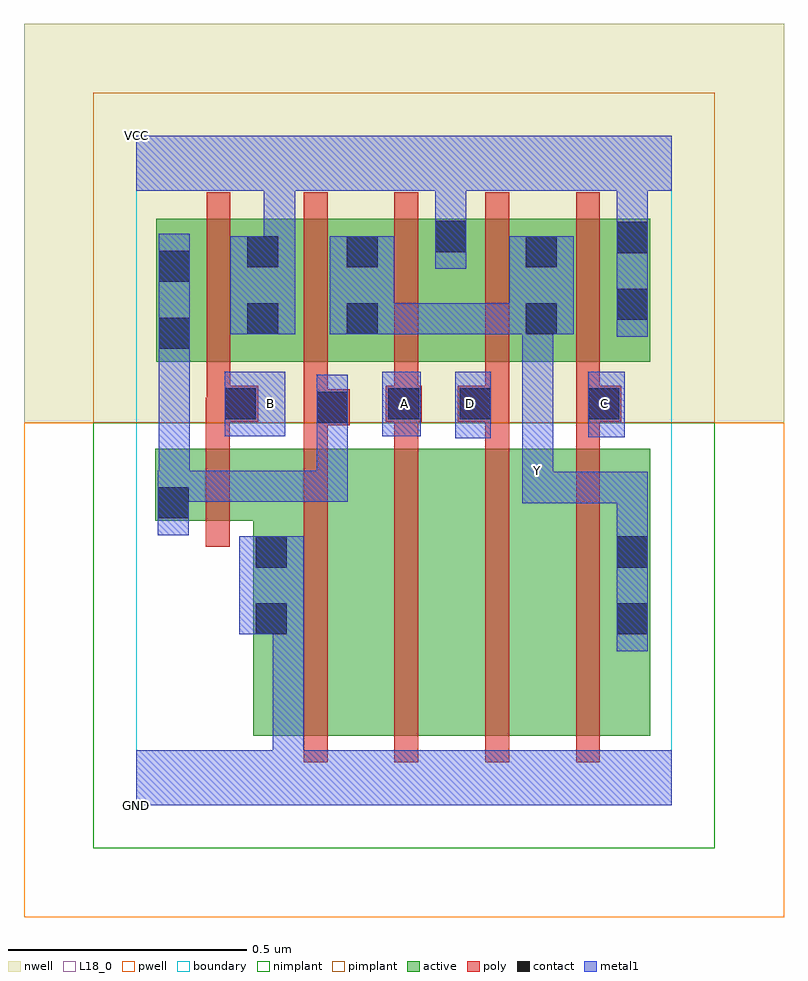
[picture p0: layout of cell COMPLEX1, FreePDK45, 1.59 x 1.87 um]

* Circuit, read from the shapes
.subckt COMPLEX1 A B C D GND VCC Y
M1 GND B n1 VSUBS nfet w=0.15u l=0.05u
M2 n2 n1 GND VSUBS nfet w=0.6u l=0.05u
M3 n3 A n2 VSUBS nfet w=0.6u l=0.05u
M4 n4 D n3 VSUBS nfet w=0.6u l=0.05u
M5 Y C n4 VSUBS nfet w=0.6u l=0.05u
M6 VCC B n1 n5 pfet w=0.3u l=0.05u
M7 Y n1 VCC n5 pfet w=0.3u l=0.05u
M8 VCC A Y n5 pfet w=0.3u l=0.05u
M9 Y D VCC n5 pfet w=0.3u l=0.05u
M10 VCC C Y n5 pfet w=0.3u l=0.05u
.ends

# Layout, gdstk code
import gdstk
lib = gdstk.Library(unit=1e-6, precision=1e-09)
def R(c, l, rs):  # rectangles x0, y0, x1, y1
    for r in rs: c.add(gdstk.rectangle(r[:2], r[2:], *l))
def A(c, l, x, y, w, h, nx, ny, dx, dy):  # array of equal rectangles
    R(c, l, [(x+i*dx, y+j*dy, x+i*dx+w, y+j*dy+h) for i in range(nx) for j in range(ny)])
active = (1, 0)
pwell = (2, 0)
nwell = (3, 0)
nimplant = (4, 0)
pimplant = (5, 0)
poly = (9, 0)
contact = (10, 0)
metal1 = (11, 0)
L18_0 = (18, 0)
boundary = (235, 0)

complex1 = lib.new_cell('COMPLEX1')
R(complex1, active, [(0.245,0.145,0.47,0.745), (0.245,0.145,0.32,0.595), (0.47,0.145,0.66,0.745), (0.66,0.145,0.85,0.745), (0.85,0.145,1.075,0.745), (1,0.145,1.075,0.745), (0.04,0.595,0.32,0.745), (0.04,0.595,0.115,0.745), (0.042,0.927,0.302,1.227), (0.042,0.927,0.117,1.167), (0.227,0.927,0.302,1.227), (0.227,0.927,0.51,1.227), (0.435,0.927,0.51,1.2), (0.435,0.927,0.695,1.227), (0.62,0.927,0.885,1.227), (0.81,0.927,1.075,1.227), (0.81,0.927,0.885,1.2), (1,0.927,1.075,1.227), (0.62,1.007,0.695,1.227)])
R(complex1, pwell, [(-0.235,-0.235,1.355,0.8)])
R(complex1, nwell, [(-0.235,0.8,1.355,1.635)])
R(complex1, nimplant, [(-0.09,-0.09,1.21,0.8)])
R(complex1, pimplant, [(-0.09,0.8,1.21,1.49)])
A(complex1, poly, 0.35, 0.09, 0.05, 0.71, 4, 1, 0.19, 0)
A(complex1, poly, 0.54, 0.75, 0.05, 0.102, 3, 1, 0.19, 0)
A(complex1, poly, 0.54, 0.827, 0.05, 0.095, 3, 1, 0.19, 0)
A(complex1, poly, 0.35, 0.872, 0.05, 0.41, 4, 1, 0.19, 0)
R(complex1, poly, [(0.145,0.54,0.195,0.8), (0.145,0.75,0.195,0.852), (0.35,0.75,0.4,0.845), (0.35,0.795,0.447,0.87), (0.145,0.802,0.197,0.852), (0.147,0.802,0.197,0.852), (0.147,0.802,0.255,0.877), (0.522,0.802,0.597,0.877), (0.54,0.802,0.59,0.852), (0.54,0.802,0.59,0.852), (0.672,0.802,0.78,0.877), (0.92,0.802,0.97,0.852), (0.92,0.802,0.97,0.852), (0.92,0.802,1.015,0.877), (0.35,0.82,0.4,0.87), (0.35,0.82,0.4,0.87), (0.35,0.82,0.4,0.922), (0.147,0.827,0.197,0.922), (0.73,0.827,0.78,0.877), (0.73,0.827,0.78,0.877), (0.147,0.872,0.197,1.282)])
R(complex1, contact, [(0.25,0.357,0.315,0.422), (1.005,0.357,1.07,0.422), (0.25,0.497,0.315,0.562), (1.005,0.497,1.07,0.562), (0.045,0.6,0.11,0.665), (0.377,0.8,0.442,0.865), (0.185,0.807,0.25,0.872), (0.527,0.807,0.592,0.872), (0.677,0.807,0.742,0.872), (0.945,0.807,1.01,0.872), (0.047,0.955,0.112,1.02), (0.232,0.985,0.297,1.05), (0.44,0.985,0.505,1.05), (0.815,0.985,0.88,1.05), (1.005,1.015,1.07,1.08), (0.047,1.095,0.112,1.16), (0.232,1.125,0.297,1.19), (0.44,1.125,0.505,1.19), (0.815,1.125,0.88,1.19), (1.005,1.155,1.07,1.22), (0.625,1.157,0.69,1.222)])
R(complex1, metal1, [(0,0,1.12,0.115), (0.285,0.05,0.35,0.422), (1.005,0.322,1.07,0.597), (0.215,0.357,0.35,0.562), (1.005,0.532,1.07,0.697), (0.045,0.565,0.11,0.7), (0.807,0.632,1.07,0.697), (0.807,0.632,0.872,0.767), (1.005,0.632,1.07,0.697), (1.005,0.632,1.07,0.697), (1.005,0.632,1.07,0.697), (0.045,0.635,0.11,0.7), (0.045,0.635,0.112,0.7), (0.047,0.635,0.112,0.7), (0.047,0.635,0.112,0.7), (0.047,0.635,0.25,0.7), (0.047,0.635,0.112,0.985), (0.185,0.635,0.25,0.7), (0.185,0.635,0.25,0.7), (0.185,0.635,0.25,0.7), (0.185,0.635,0.442,0.7), (0.377,0.635,0.442,0.9), (0.807,0.702,0.872,1.05), (0.667,0.767,0.742,0.907), (0.945,0.77,1.022,0.907), (0.185,0.772,0.312,0.907), (0.515,0.772,0.595,0.907), (0.047,0.92,0.112,1.195), (1.005,0.98,1.07,1.255), (0.197,0.985,0.332,1.19), (0.405,0.985,0.54,1.19), (0.475,0.985,0.54,1.05), (0.475,0.985,0.54,1.05), (0.475,0.985,0.707,1.05), (0.642,0.985,0.707,1.05), (0.642,0.985,0.845,1.05), (0.78,0.985,0.845,1.05), (0.78,0.985,0.845,1.05), (0.78,0.985,0.915,1.19), (0.807,0.985,0.872,1.05), (0.807,0.985,0.872,1.05), (0.625,1.122,0.69,1.257), (0.267,1.125,0.332,1.35), (1.005,1.19,1.07,1.35), (0.625,1.192,0.69,1.35), (0,1.285,1.12,1.4)])
R(complex1, L18_0, [(0,0,1.12,0.115), (0.285,0.05,0.35,0.422), (1.005,0.322,1.07,0.597), (0.215,0.357,0.35,0.562), (1.005,0.532,1.07,0.697), (0.807,0.632,0.872,0.767), (0.807,0.632,1.07,0.697), (1.005,0.632,1.07,0.697), (1.005,0.632,1.07,0.697), (1.005,0.632,1.07,0.697), (0.807,0.667,0.872,0.732), (0.807,0.702,0.872,1.05), (0.667,0.767,0.742,0.907), (0.945,0.77,1.022,0.907), (0.185,0.772,0.312,0.907), (0.515,0.772,0.595,0.907), (0.247,0.807,0.312,0.872), (0.527,0.807,0.592,0.872), (0.667,0.807,0.732,0.872), (0.947,0.807,1.012,0.872), (1.005,0.98,1.07,1.255), (0.197,0.985,0.332,1.19), (0.405,0.985,0.54,1.19), (0.475,0.985,0.54,1.05), (0.475,0.985,0.54,1.05), (0.475,0.985,0.707,1.05), (0.642,0.985,0.707,1.05), (0.642,0.985,0.845,1.05), (0.78,0.985,0.915,1.19), (0.78,0.985,0.845,1.05), (0.78,0.985,0.845,1.05), (0.807,0.985,0.872,1.05), (0.807,0.985,0.872,1.05), (0.625,1.122,0.69,1.257), (0.267,1.125,0.332,1.35), (1.005,1.19,1.07,1.35), (0.625,1.192,0.69,1.35), (0,1.285,1.12,1.4)])
R(complex1, boundary, [(0,0,1.12,1.4)])
complex1.add(gdstk.Label('A', (0.56,0.84), layer=11, texttype=0))
complex1.add(gdstk.Label('B', (0.28,0.84), layer=11, texttype=0))
complex1.add(gdstk.Label('C', (0.98,0.84), layer=11, texttype=0))
complex1.add(gdstk.Label('D', (0.7,0.84), layer=11, texttype=0))
complex1.add(gdstk.Label('Y', (0.84,0.7), layer=11, texttype=0))
complex1.add(gdstk.Label('VCC', (0,1.4), layer=11, texttype=0))
complex1.add(gdstk.Label('GND', (0,0), layer=11, texttype=0))

lib.write_gds('COMPLEX1.gds')
